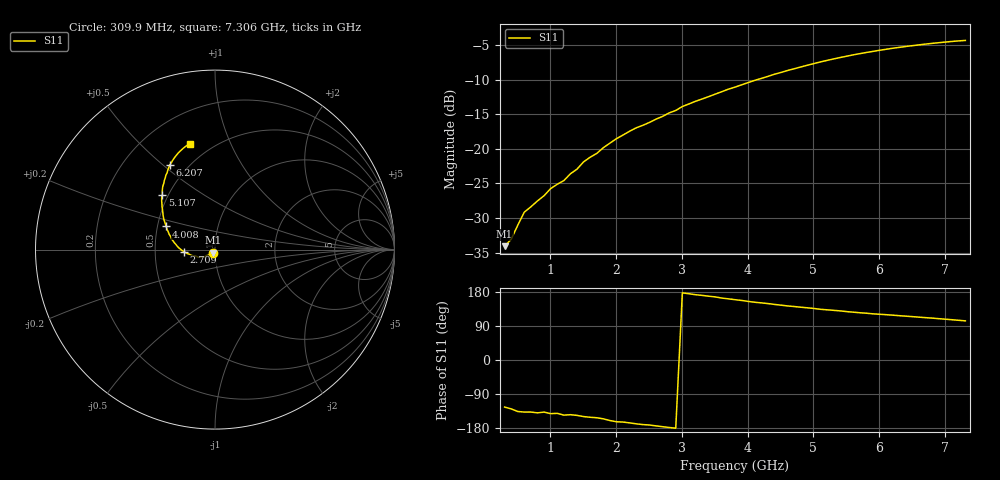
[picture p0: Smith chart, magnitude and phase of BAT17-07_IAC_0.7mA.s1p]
! Infineon Technologies  Discrete & RF Semiconductors
! BAT17-07
! IAC = 0.7 mA
! One-Port S-Parameters
# Hz  S  MA  R  50
!f  S11
!Hz  Mag  Ang
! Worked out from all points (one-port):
!   71 points, 309.9 MHz to 7.306 GHz, reference 50 ohm
!   lowest |S11| = -34.0 dB at 309.9 MHz (marker M1), VSWR 1.04, Z = 48.9 - j1.6 ohm
!   |S11| at or under -10 dB: start of sweep to 4.146 GHz
!   S11 on the Smith chart (normalised r, x): 309.9 MHz: 0.98, -0.03; 2.709 GHz: 0.71, -0.02; 4.008 GHz: 0.56, +0.16; 5.107 GHz: 0.46, +0.35; 6.207 GHz: 0.40, +0.53; 7.306 GHz: 0.38, +0.72
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3.0985e8  0.01984 -124.3
4.098e8  0.02226 -129.0
6.097e8  0.03496 -137.4
9.0955e8  0.04595 -137.5
1.0095e9  0.05168 -141.6
1.2094e9  0.059 -145.5
1.30935e9  0.06611 -144.3
1.4093e9  0.07139 -146.2
1.50925e9  0.08059 -149.3
1.70915e9  0.09271 -152.4
1.8091e9  0.1019 -155.3
1.90905e9  0.11 -159.7
2.10895e9  0.126 -163.8
2.30885e9  0.1419 -168.5
2.70865e9  0.1715 -176.0
2.90855e9  0.1894 -180.0
3.0085e9  0.2022 177.1
3.50825e9  0.2484 166.5
3.8081e9  0.279 159.2
4.008e9  0.3011 154.6
4.70765e9  0.3789 141.1
5.10745e9  0.4245 133.8
5.4073e9  0.4567 129.6
5.6072e9  0.4777 126.2
6.2069e9  0.5329 118.2
6.50675e9  0.5564 114.4
6.8066e9  0.5778 110.5
7.30635e9  0.6062 103.2
